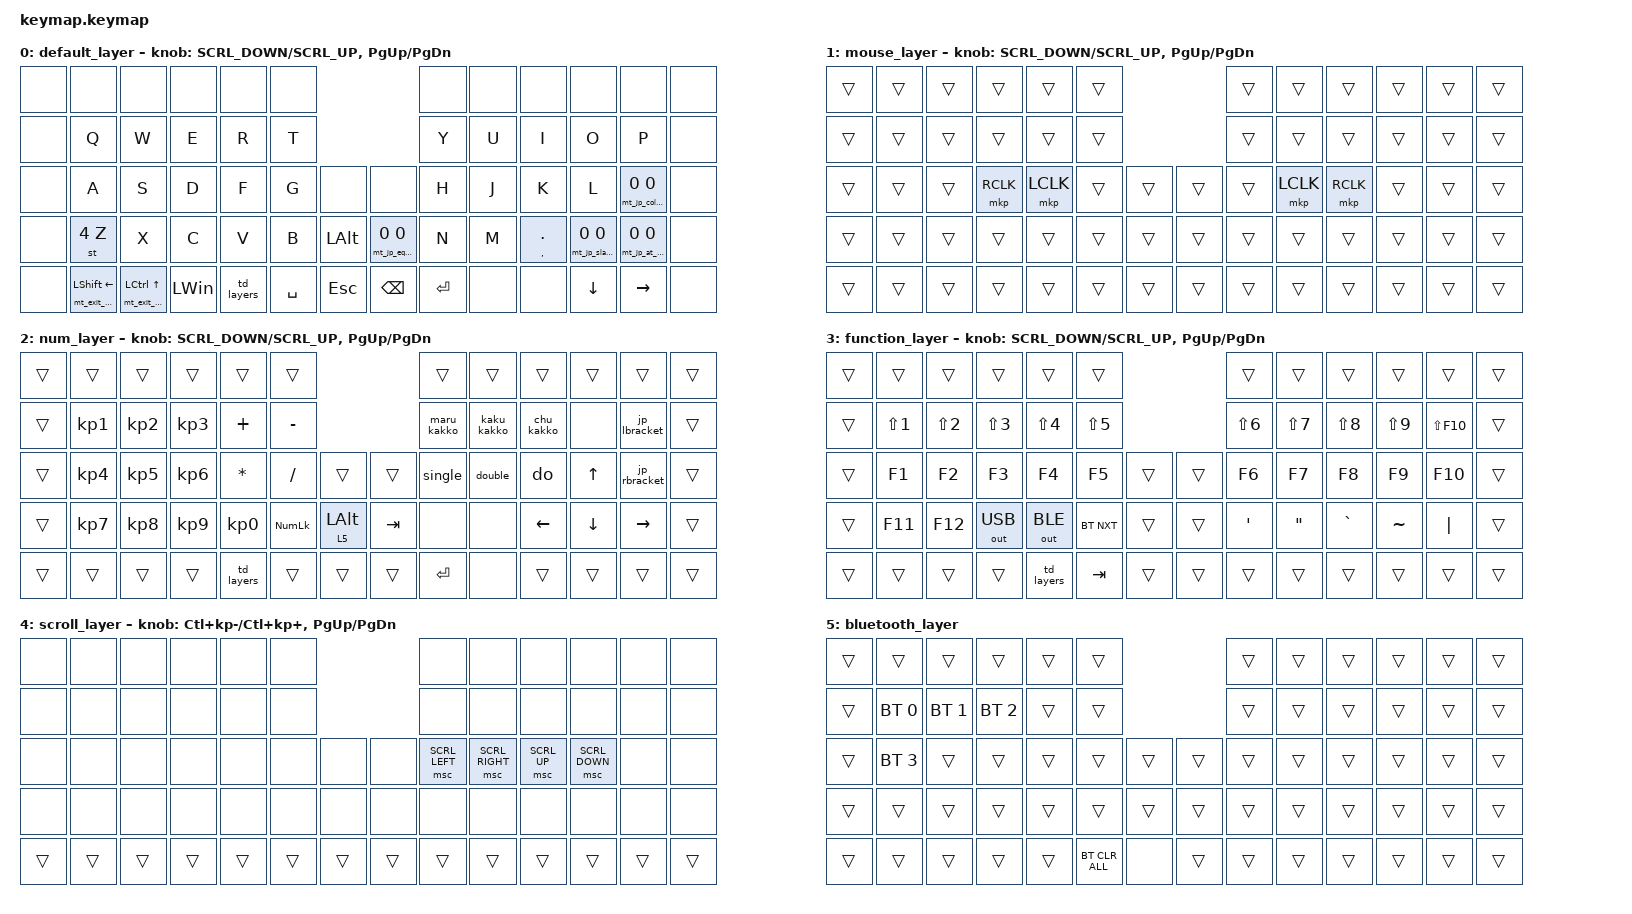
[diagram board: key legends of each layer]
#include <input/processors.dtsi>
#include <zephyr/dt-bindings/input/input-event-codes.h>
#include <behaviors.dtsi>
#include <dt-bindings/zmk/bt.h>
#include <dt-bindings/zmk/keys.h>
#include <dt-bindings/zmk/outputs.h>
#include <dt-bindings/zmk/pointing.h>
#include "U_defines.h"
#include "behaviors/lay_mouse.dtsi"
#include "behaviors/morphs.dtsi"
#include "behaviors/tapdance.dtsi"
#include "macros.dtsi"
#include "combos.dtsi"
#include "input_processors.dtsi"

&mt {
    flavor = "balanced";
    quick-tap-ms = <0>;
    tapping-term-ms = <200>;
};

&zip_temp_layer {
    excluded-positions = <
        33 // J
        34 // K
        39 // LEFT_SHIFT
        40 // LEFT_CONTROL
        41 // CMD
    >;

    require-prior-idle-ms = <200>;
};

/ {
    keymap {
        compatible = "zmk,keymap";

        default_layer {
            bindings = <
&none  &none                                      &none                                      &none         &none       &none                                         &none      &none  &none          &none                       &none                       &none
&none  &kp Q                                      &kp W                                      &kp E         &kp R       &kp T                                         &kp Y      &kp U  &kp I          &kp O                       &kp P                       &none
&none  &kp A                                      &kp S                                      &kp D         &kp F       &kp G      &none         &none                &kp H      &kp J  &kp K          &kp L                       &mt_jp_colon_semicolon 0 0  &none
&none  &st 4 Z                                    &kp X                                      &kp C         &kp V       &kp B      &kp LEFT_ALT  &mt_jp_eq_caret 0 0  &kp N      &kp M  &mt COMMA DOT  &mt_jp_slash_backslash 0 0  &mt_jp_at_bslh 0 0          &none
&none  &mt_exit_AML_on_tap LEFT_SHIFT LEFT_ARROW  &mt_exit_AML_on_tap LEFT_CONTROL UP_ARROW  &kp LEFT_WIN  &td_layers  &kp SPACE  &kp ESCAPE    &kp BACKSPACE        &kp ENTER  &none  &none          &kp DOWN                    &kp RIGHT_ARROW             &none
            >;

            sensor-bindings = <&WheelScroll SCRL_DOWN SCRL_UP &inc_dec_kp PG_UP PG_DN>;
        };

        mouse_layer {
            bindings = <
&trans  &trans  &trans  &trans     &trans     &trans                  &trans  &trans     &trans     &trans  &trans  &trans
&trans  &trans  &trans  &trans     &trans     &trans                  &trans  &trans     &trans     &trans  &trans  &trans
&trans  &trans  &trans  &mkp RCLK  &mkp LCLK  &trans  &trans  &trans  &trans  &mkp LCLK  &mkp RCLK  &trans  &trans  &trans
&trans  &trans  &trans  &trans     &trans     &trans  &trans  &trans  &trans  &trans     &trans     &trans  &trans  &trans
&trans  &trans  &trans  &trans     &trans     &trans  &trans  &trans  &trans  &trans     &trans     &trans  &trans  &trans
            >;

            sensor-bindings = <&WheelScroll SCRL_DOWN SCRL_UP &inc_dec_kp PG_UP PG_DN>;
        };

        num_layer {
            bindings = <
&trans  &trans           &trans           &trans           &trans           &trans                                   &trans       &trans       &trans          &trans          &trans           &trans
&trans  &kp KP_NUMBER_1  &kp KP_NUMBER_2  &kp KP_NUMBER_3  &kp PLUS         &kp MINUS                                &maru_kakko  &kaku_kakko  &chu_kakko      &none           &jp_lbracket     &trans
&trans  &kp KP_NUMBER_4  &kp KP_NUMBER_5  &kp KP_NUMBER_6  &kp ASTERISK     &kp SLASH       &trans          &trans   &single      &double      &do             &kp UP_ARROW    &jp_rbracket      &trans
&trans  &kp KP_NUMBER_7  &kp KP_NUMBER_8  &kp KP_NUMBER_9  &kp KP_NUMBER_0  &kp KP_NUMLOCK  &lt 5 LEFT_ALT  &kp TAB  &none        &none        &kp LEFT_ARROW  &kp DOWN_ARROW  &kp RIGHT_ARROW  &trans
&trans  &trans           &trans           &trans           &td_layers       &trans          &trans          &trans   &kp ENTER    &none        &trans          &trans          &trans           &trans
            >;

            sensor-bindings = <&WheelScroll SCRL_DOWN SCRL_UP &inc_dec_kp PG_UP PG_DN>;
        };

        function_layer {
            bindings = <
&trans  &trans            &trans            &trans            &trans            &trans                      &trans            &trans      &trans      &trans      &trans       &trans
&trans  &kp LS(NUMBER_1)  &kp LS(NUMBER_2)  &kp LS(NUMBER_3)  &kp LS(NUMBER_4)  &kp LS(N5)                  &kp LS(NUMBER_6)  &kp LS(N7)  &kp LS(N8)  &kp LS(N9)  &kp LS(F10)  &trans
&trans  &kp F1            &kp F2            &kp F3            &kp F4            &kp F5      &trans  &trans  &kp F6            &kp F7      &kp F8      &kp F9      &kp F10      &trans
&trans  &kp F11           &kp F12           &out OUT_USB      &out OUT_BLE      &bt BT_NXT  &trans  &trans  &kp SINGLE_QUOTE  &kp DQT     &kp GRAVE   &kp TILDE   &kp PIPE     &trans
&trans  &trans            &trans            &trans            &td_layers        &kp TAB     &trans  &trans  &trans            &trans      &trans      &trans      &trans       &trans
            >;

            sensor-bindings = <&WheelScroll SCRL_DOWN SCRL_UP &inc_dec_kp PG_UP PG_DN>;
        };

        scroll_layer {
            bindings = <
&none   &none   &none   &none   &none   &none                   &none           &none            &none         &none           &none   &none
&none   &none   &none   &none   &none   &none                   &none           &none            &none         &none           &none   &none
&none   &none   &none   &none   &none   &none   &none   &none   &msc SCRL_LEFT  &msc SCRL_RIGHT  &msc SCRL_UP  &msc SCRL_DOWN  &none   &none
&none   &none   &none   &none   &none   &none   &none   &none   &none           &none            &none         &none           &none   &none
&trans  &trans  &trans  &trans  &trans  &trans  &trans  &trans  &trans          &trans           &trans        &trans          &trans  &trans
            >;

            sensor-bindings = <&inc_dec_kp LC(KP_MINUS) LC(KP_PLUS) &inc_dec_kp PG_UP PG_DN>;
        };

        bluetooth_layer {
            bindings = <
&trans  &trans        &trans        &trans        &trans  &trans                          &trans  &trans  &trans  &trans  &trans  &trans
&trans  &bt BT_SEL 0  &bt BT_SEL 1  &bt BT_SEL 2  &trans  &trans                          &trans  &trans  &trans  &trans  &trans  &trans
&trans  &bt BT_SEL 3  &trans        &trans        &trans  &trans          &trans  &trans  &trans  &trans  &trans  &trans  &trans  &trans
&trans  &trans        &trans        &trans        &trans  &trans          &trans  &trans  &trans  &trans  &trans  &trans  &trans  &trans
&trans  &trans        &trans        &trans        &trans  &bt BT_CLR_ALL  &none   &trans  &trans  &trans  &trans  &trans  &trans  &trans
            >;
        };
    };
};
